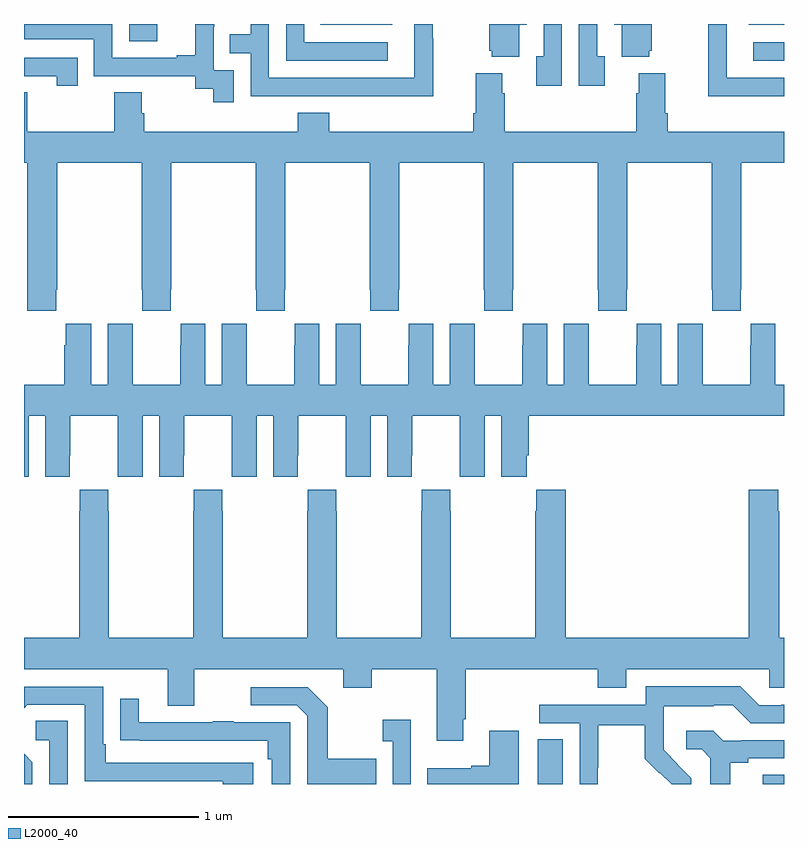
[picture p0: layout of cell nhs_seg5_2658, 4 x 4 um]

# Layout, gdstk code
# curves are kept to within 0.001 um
import gdstk
lib = gdstk.Library(unit=1e-6, precision=1e-09)
def R(c, l, rs):  # rectangles x0, y0, x1, y1
    for r in rs: c.add(gdstk.rectangle(r[:2], r[2:], *l))
def P(c, l, *ps):  # polygons
    for p in ps: c.add(gdstk.Polygon(p, *l))
L2000_40 = (2000, 40)

nhs_seg5_2658 = lib.new_cell('nhs_seg5_2658')
R(nhs_seg5_2658, L2000_40, [(267.704,878.799,267.835,879.035), (268.889,878.799,269,878.849), (268.839,882.606,269,882.702), (265.554,882.708,265.702,882.799), (266.56,882.794,266.938,882.799), (268.814,882.794,269,882.799)])
P(nhs_seg5_2658, L2000_40, [(268.292,882.657),(268.303,882.657),(268.303,882.799),(268.106,882.799),(268.106,882.794),(268.145,882.794),(268.145,882.626),(268.292,882.626)],
  [(268.057,882.63),(268.017,882.63),(268.017,882.799),(267.921,882.799),(267.921,882.474),(268.057,882.474)],
  [(267.831,882.799),(267.735,882.799),(267.735,882.63),(267.695,882.63),(267.695,882.474),(267.831,882.474)],
  [(267.607,882.794),(267.646,882.794),(267.646,882.799),(267.449,882.799),(267.449,882.657),(267.461,882.657),(267.461,882.626),(267.607,882.626)],
  [(267.153,882.725),(267.15,882.725),(267.15,882.799),(267.054,882.799),(267.054,882.516),(266.289,882.516),(266.289,882.799),(266.193,882.799),(266.193,882.746),(266.083,882.746),(266.083,882.645),(266.193,882.645),(266.193,882.42),(266.689,882.42),(266.689,882.419),(267.153,882.419)],
  [(269,882.516),(268.698,882.516),(268.698,882.799),(268.602,882.799),(268.602,882.725),(268.6,882.725),(268.6,882.419),(269,882.419)],
  [(266.103,882.555),(265.998,882.555),(265.998,882.785),(266,882.785),(266,882.799),(265.901,882.799),(265.901,882.634),(265.805,882.634),(265.805,882.621),(265.464,882.621),(265.464,882.799),(265,882.799),(265,882.72),(265.368,882.72),(265.368,882.525),(265.902,882.525),(265.902,882.457),(265.995,882.457),(265.995,882.387),(266.103,882.387)],
  [(266.914,882.702),(266.475,882.702),(266.475,882.799),(266.379,882.799),(266.379,882.606),(266.914,882.606)],
  [(265.283,882.621),(265,882.621),(265,882.525),(265.172,882.525),(265.172,882.474),(265.283,882.474)],
  [(265.169,881.401),(265.176,881.401),(265.176,882.068),(265.621,882.068),(265.621,881.401),(265.623,881.401),(265.623,881.289),(265.773,881.289),(265.773,881.401),(265.776,881.401),(265.776,882.068),(266.221,882.068),(266.221,881.401),(266.223,881.401),(266.223,881.289),(266.373,881.289),(266.373,881.401),(266.376,881.401),(266.376,882.068),(266.821,882.068),(266.821,881.401),(266.823,881.401),(266.823,881.289),(266.973,881.289),(266.973,881.401),(266.976,881.401),(266.976,882.068),(267.421,882.068),(267.421,881.401),(267.423,881.401),(267.423,881.289),(267.573,881.289),(267.573,881.401),(267.576,881.401),(267.576,882.068),(268.021,882.068),(268.021,881.401),(268.023,881.401),(268.023,881.289),(268.173,881.289),(268.173,881.401),(268.176,881.401),(268.176,882.068),(268.621,882.068),(268.621,881.401),(268.623,881.401),(268.623,881.289),(268.773,881.289),(268.773,881.401),(268.776,881.401),(268.776,882.068),(269,882.068),(269,882.232),(268.388,882.232),(268.388,882.328),(268.375,882.328),(268.375,882.541),(268.235,882.541),(268.235,882.434),(268.223,882.434),(268.223,882.232),(267.53,882.232),(267.53,882.434),(267.517,882.434),(267.517,882.541),(267.377,882.541),(267.377,882.328),(267.365,882.328),(267.365,882.232),(266.606,882.232),(266.606,882.331),(266.441,882.331),(266.441,882.232),(265.634,882.232),(265.634,882.33),(265.621,882.33),(265.621,882.44),(265.474,882.44),(265.474,882.232),(265.017,882.232),(265.017,882.44),(265,882.44),(265,882.068),(265.016,882.068),(265.016,881.289),(265.169,881.289)],
  [(265.024,880.736),(265.112,880.736),(265.112,880.416),(265.242,880.416),(265.242,880.528),(265.243,880.528),(265.243,880.736),(265.493,880.736),(265.493,880.528),(265.494,880.528),(265.494,880.416),(265.624,880.416),(265.624,880.736),(265.712,880.736),(265.712,880.416),(265.842,880.416),(265.842,880.528),(265.843,880.528),(265.843,880.736),(266.093,880.736),(266.093,880.528),(266.094,880.528),(266.094,880.416),(266.224,880.416),(266.224,880.736),(266.312,880.736),(266.312,880.416),(266.442,880.416),(266.442,880.528),(266.443,880.528),(266.443,880.736),(266.693,880.736),(266.693,880.528),(266.694,880.528),(266.694,880.416),(266.824,880.416),(266.824,880.736),(266.912,880.736),(266.912,880.416),(267.042,880.416),(267.042,880.528),(267.043,880.528),(267.043,880.736),(267.293,880.736),(267.293,880.528),(267.294,880.528),(267.294,880.416),(267.424,880.416),(267.424,880.736),(267.512,880.736),(267.512,880.416),(267.646,880.416),(267.646,880.528),(267.656,880.528),(267.656,880.736),(269,880.736),(269,880.9),(268.954,880.9),(268.954,881.221),(268.824,881.221),(268.824,881.108),(268.823,881.108),(268.823,880.9),(268.573,880.9),(268.573,881.108),(268.572,881.108),(268.572,881.221),(268.442,881.221),(268.442,880.9),(268.354,880.9),(268.354,881.221),(268.224,881.221),(268.224,881.108),(268.223,881.108),(268.223,880.9),(267.973,880.9),(267.973,881.108),(267.972,881.108),(267.972,881.221),(267.842,881.221),(267.842,880.9),(267.754,880.9),(267.754,881.221),(267.624,881.221),(267.624,881.108),(267.623,881.108),(267.623,880.9),(267.373,880.9),(267.373,881.108),(267.372,881.108),(267.372,881.221),(267.242,881.221),(267.242,880.9),(267.154,880.9),(267.154,881.221),(267.024,881.221),(267.024,881.108),(267.023,881.108),(267.023,880.9),(266.773,880.9),(266.773,881.108),(266.772,881.108),(266.772,881.221),(266.642,881.221),(266.642,880.9),(266.554,880.9),(266.554,881.221),(266.424,881.221),(266.424,881.108),(266.423,881.108),(266.423,880.9),(266.173,880.9),(266.173,881.108),(266.172,881.108),(266.172,881.221),(266.042,881.221),(266.042,880.9),(265.954,880.9),(265.954,881.221),(265.824,881.221),(265.824,881.108),(265.823,881.108),(265.823,880.9),(265.573,880.9),(265.573,881.108),(265.572,881.108),(265.572,881.221),(265.442,881.221),(265.442,880.9),(265.354,880.9),(265.354,881.221),(265.22,881.221),(265.22,881.108),(265.211,881.108),(265.211,880.9),(265,880.9),(265,880.416),(265.024,880.416)],
  [(267.313,879.139),(267.326,879.139),(267.326,879.404),(268.019,879.404),(268.019,879.305),(268.171,879.305),(268.171,879.404),(268.923,879.404),(268.923,879.306),(269,879.306),(269,879.568),(268.974,879.568),(268.974,880.235),(268.969,880.235),(268.969,880.348),(268.814,880.348),(268.814,879.568),(267.851,879.568),(267.851,880.348),(267.697,880.348),(267.697,880.235),(267.691,880.235),(267.691,879.568),(267.246,879.568),(267.246,880.235),(267.243,880.235),(267.243,880.348),(267.093,880.348),(267.093,880.235),(267.091,880.235),(267.091,879.568),(266.646,879.568),(266.646,880.235),(266.643,880.235),(266.643,880.348),(266.493,880.348),(266.493,880.235),(266.491,880.235),(266.491,879.568),(266.046,879.568),(266.046,880.235),(266.043,880.235),(266.043,880.348),(265.893,880.348),(265.893,880.235),(265.891,880.235),(265.891,879.568),(265.446,879.568),(265.446,880.235),(265.443,880.235),(265.443,880.348),(265.293,880.348),(265.293,880.235),(265.291,880.235),(265.291,879.568),(265,879.568),(265,879.404),(265.757,879.404),(265.757,879.21),(265.897,879.21),(265.897,879.404),(266.681,879.404),(266.681,879.305),(266.829,879.305),(266.829,879.404),(267.173,879.404),(267.173,879.027),(267.313,879.027)],
  [(268.02,878.884),(268.023,878.884),(268.023,879.108),(268.267,879.108),(268.267,878.933),(268.344,878.856),(268.347,878.859),(268.408,878.799),(268.512,878.799),(268.512,878.83),(268.366,878.978),(268.366,879.075),(268.368,879.075),(268.368,879.209),(268.631,879.209),(268.631,879.213),(268.731,879.213),(268.824,879.12),(269,879.12),(269,879.216),(268.985,879.216),(268.985,879.213),(268.869,879.213),(268.769,879.313),(268.272,879.313),(268.272,879.216),(267.711,879.216),(267.711,879.12),(267.924,879.12),(267.924,878.799),(268.02,878.799)],
  [(266.206,878.91),(265.429,878.91),(265.429,879.007),(265.416,879.007),(265.416,879.312),(265,879.312),(265,879.199),(265.017,879.216),(265.32,879.216),(265.32,878.814),(266.045,878.814),(266.045,878.799),(266.206,878.799)],
  [(266.855,878.931),(266.599,878.931),(266.599,879.203),(266.493,879.309),(266.193,879.309),(266.193,879.213),(266.436,879.213),(266.49,879.159),(266.49,878.799),(266.855,878.799)],
  [(266.4,879.123),(266.105,879.123),(266.105,879.128),(265.993,879.128),(265.993,879.123),(265.603,879.123),(265.603,879.247),(265.507,879.247),(265.507,879.028),(265.609,879.028),(265.609,879.027),(266.284,879.027),(266.284,878.93),(266.304,878.93),(266.304,878.799),(266.4,878.799)],
  [(267.036,879.136),(266.889,879.136),(266.889,879.023),(266.94,879.023),(266.94,878.799),(267.036,878.799)],
  [(265.23,879.131),(265.062,879.131),(265.062,879.03),(265.134,879.03),(265.134,878.799),(265.23,878.799)],
  [(268.717,878.912),(268.813,878.912),(268.813,878.934),(269,878.934),(269,879.03),(268.774,879.03),(268.774,879.027),(268.68,879.027),(268.628,879.079),(268.485,879.079),(268.485,878.982),(268.566,878.982),(268.613,878.935),(268.613,878.799),(268.717,878.799)],
  [(267.604,879.079),(267.449,879.079),(267.449,878.894),(267.353,878.894),(267.353,878.881),(267.123,878.881),(267.123,878.799),(267.604,878.799)],
  [(265.044,878.914),(265,878.958),(265,878.799),(265.044,878.799)])

lib.write_gds('nhs_seg5_2658.gds')
